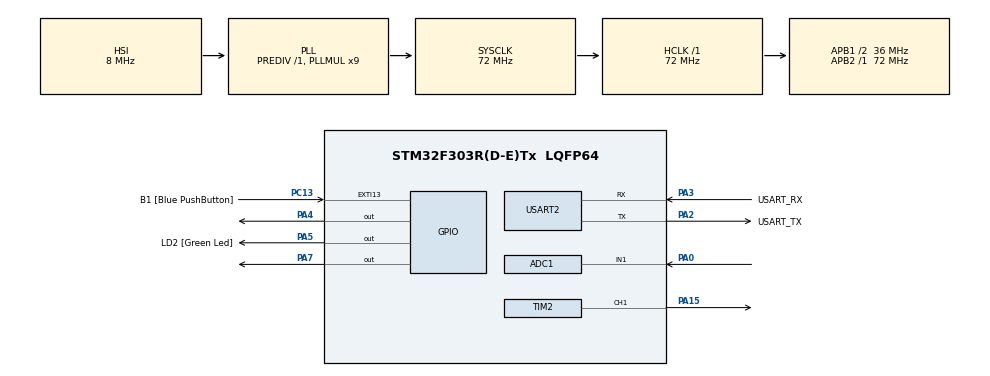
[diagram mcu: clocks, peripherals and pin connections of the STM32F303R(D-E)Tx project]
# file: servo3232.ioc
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ADC1.Channel-0\#ChannelRegularConversion=ADC_CHANNEL_1
ADC1.NbrOfConversionFlag=1
ADC1.Offset-0\#ChannelRegularConversion=0
ADC1.OffsetNumber-0\#ChannelRegularConversion=ADC_OFFSET_NONE
ADC1.Rank-0\#ChannelRegularConversion=1
ADC1.SamplingTime-0\#ChannelRegularConversion=ADC_SAMPLETIME_1CYCLE_5
ADC1.master=1
FREERTOS.Queues01=myQueue01,64,uint16_t,0,Dynamic,NULL,NULL
FREERTOS.Tasks01=defaultTask,0,128,StartDefaultTask,Default,NULL,Dynamic,NULL,NULL;myTask02,0,256,StartTask02,Default,NULL,Dynamic,NULL,NULL;myTask03,0,256,StartTask03,Default,NULL,Dynamic,NULL,NULL
FREERTOS.configTOTAL_HEAP_SIZE=4096
Mcu.Family=STM32F3
Mcu.Name=STM32F303R(D-E)Tx
Mcu.Package=LQFP64
NVIC.PriorityGroup=NVIC_PRIORITYGROUP_4
NVIC.TIM1_UP_TIM16_IRQn=true\:0\:0\:false\:false\:true\:false\:false
NVIC.TimeBase=TIM1_UP_TIM16_IRQn
NVIC.TimeBaseIP=TIM1
PA0.Mode=IN1-Single-Ended
PA0.Signal=ADC1_IN1
PA13.GPIO_Label=TMS
PA13.Mode=Serial_Wire
PA13.Signal=SYS_JTMS-SWDIO
PA14.GPIO_Label=TCK
PA14.Mode=Serial_Wire
PA14.Signal=SYS_JTCK-SWCLK
PA15.Signal=S_TIM2_CH1_ETR
PA2.GPIO_Label=USART_TX
PA2.GPIO_Mode=GPIO_MODE_AF_PP
PA2.GPIO_PuPd=GPIO_NOPULL
PA2.GPIO_Speed=GPIO_SPEED_FREQ_LOW
PA2.Mode=Asynchronous
PA2.Signal=USART2_TX
PA3.GPIO_Label=USART_RX
PA3.GPIO_Mode=GPIO_MODE_AF_PP
PA3.GPIO_PuPd=GPIO_NOPULL
PA3.GPIO_Speed=GPIO_SPEED_FREQ_LOW
PA3.Mode=Asynchronous
PA3.Signal=USART2_RX
PA4.Signal=GPIO_Output
PA5.GPIO_Label=LD2 [Green Led]
PA5.GPIO_Mode=GPIO_MODE_OUTPUT_PP
PA5.GPIO_PuPd=GPIO_NOPULL
PA5.GPIO_Speed=GPIO_SPEED_FREQ_LOW
PA5.Signal=GPIO_Output
PA7.Signal=GPIO_Output
PB3.GPIO_Label=SWO
PB3.Signal=SYS_JTDO-TRACESWO
PC13.GPIO_Label=B1 [Blue PushButton]
PC13.GPIO_ModeDefaultEXTI=GPIO_MODE_IT_FALLING
PC13.Signal=GPXTI13
PC14-OSC32_IN.Mode=LSE-External-Oscillator
PC14-OSC32_IN.Signal=RCC_OSC32_IN
PC15-OSC32_OUT.Mode=LSE-External-Oscillator
PC15-OSC32_OUT.Signal=RCC_OSC32_OUT
PF0-OSC_IN.Mode=HSE-External-Oscillator
PF0-OSC_IN.Signal=RCC_OSC_IN
PF1-OSC_OUT.Mode=HSE-External-Oscillator
PF1-OSC_OUT.Signal=RCC_OSC_OUT
ProjectManager.HeapSize=0x200
ProjectManager.StackSize=0x400
ProjectManager.TargetToolchain=SW4STM32
RCC.AHBFreq_Value=72000000
RCC.APB1CLKDivider=RCC_HCLK_DIV2
RCC.APB1Freq_Value=36000000
RCC.APB1TimFreq_Value=72000000
RCC.APB2Freq_Value=72000000
RCC.APB2TimFreq_Value=72000000
RCC.CortexFreq_Value=72000000
RCC.HCLKFreq_Value=72000000
RCC.HSE_VALUE=8000000
RCC.HSI_VALUE=8000000
RCC.PLLM=8
RCC.PLLMUL=RCC_PLL_MUL9
RCC.PLLN=336
RCC.PLLP=RCC_PLLP_DIV4
RCC.PLLQ=7
RCC.RCC_PLLsource_Clock_Source_FROM_HSE=RCC_HSE_PREDIV_DIV2
RCC.SYSCLKFreq_VALUE=72000000
RCC.SYSCLKSourceVirtual=RCC_SYSCLKSOURCE_PLLCLK
RCC.USBFreq_Value=72000000
SH.S_TIM2_CH1_ETR.0=TIM2_CH1,Output Compare1 CH1
TIM2.Channel-Output\ Compare1\ CH1=TIM_CHANNEL_1
USART2.VirtualMode-Asynchronous=VM_ASYNC
VP_FREERTOS_VS_ENABLE.Mode=Enabled
VP_SYS_VS_tim1.Mode=TIM1
VP_TIM2_VS_ClockSourceINT.Mode=Internal
board=NUCLEO-F303RE

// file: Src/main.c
/**
  ******************************************************************************
  * @file           : main.c
  * @brief          : Main program body
  ******************************************************************************
  * This notice applies to any and all portions of this file
  * that are not between comment pairs USER CODE BEGIN and
  * USER CODE END. Other portions of this file, whether
  * inserted by the user or by software development tools
  * are owned by their respective copyright owners.
  *
  * Copyright (c) 2018 STMicroelectronics International N.V.
  * All rights reserved.
  *
  * Redistribution and use in source and binary forms, with or without
  * modification, are permitted, provided that the following conditions are met:
  *
  * 1. Redistribution of source code must retain the above copyright notice,
  *    this list of conditions and the following disclaimer.
  * 2. Redistributions in binary form must reproduce the above copyright notice,
  *    this list of conditions and the following disclaimer in the documentation
  *    and/or other materials provided with the distribution.
  * 3. Neither the name of STMicroelectronics nor the names of other
  *    contributors to this software may be used to endorse or promote products
  *    derived from this software without specific written permission.
  * 4. This software, including modifications and/or derivative works of this
  *    software, must execute solely and exclusively on microcontroller or
  *    microprocessor devices manufactured by or for STMicroelectronics.
  * 5. Redistribution and use of this software other than as permitted under
  *    this license is void and will automatically terminate your rights under
  *    this license.
  *
  * THIS SOFTWARE IS PROVIDED BY STMICROELECTRONICS AND CONTRIBUTORS "AS IS"
  * AND ANY EXPRESS, IMPLIED OR STATUTORY WARRANTIES, INCLUDING, BUT NOT
  * LIMITED TO, THE IMPLIED WARRANTIES OF MERCHANTABILITY, FITNESS FOR A
  * PARTICULAR PURPOSE AND NON-INFRINGEMENT OF THIRD PARTY INTELLECTUAL PROPERTY
  * RIGHTS ARE DISCLAIMED TO THE FULLEST EXTENT PERMITTED BY LAW. IN NO EVENT
  * SHALL STMICROELECTRONICS OR CONTRIBUTORS BE LIABLE FOR ANY DIRECT, INDIRECT,
  * INCIDENTAL, SPECIAL, EXEMPLARY, OR CONSEQUENTIAL DAMAGES (INCLUDING, BUT NOT
  * LIMITED TO, PROCUREMENT OF SUBSTITUTE GOODS OR SERVICES; LOSS OF USE, DATA,
  * OR PROFITS; OR BUSINESS INTERRUPTION) HOWEVER CAUSED AND ON ANY THEORY OF
  * LIABILITY, WHETHER IN CONTRACT, STRICT LIABILITY, OR TORT (INCLUDING
  * NEGLIGENCE OR OTHERWISE) ARISING IN ANY WAY OUT OF THE USE OF THIS SOFTWARE,
  * EVEN IF ADVISED OF THE POSSIBILITY OF SUCH DAMAGE.
  *
  ******************************************************************************
  */
#include "main.h"
#include "stm32f3xx_hal.h"
#include "cmsis_os.h"
#include "adc.h"
#include "tim.h"
#include "usart.h"
#include "gpio.h"

/* USER CODE BEGIN Includes */
/***************************************AUTORZY*********************************************/
//PATRYK ZYGMUNT
//DANIEL STEFANIK

/*******************************************************************************************/

/* USER CODE END Includes */

/* USER CODE BEGIN PV */
/* Private variables ---------------------------------------------------------*/

/* USER CODE END PV */

void SystemClock_Config(void);
void MX_FREERTOS_Init(void);

/* USER CODE BEGIN PFP */
/* Private function prototypes -----------------------------------------------*/

/* USER CODE END PFP */

int main(void)
{

  /* MCU Configuration----------------------------------------------------------*/

  /* Reset of all peripherals, Initializes the Flash interface and the Systick. */
  HAL_Init();

  /* Configure the system clock */
  SystemClock_Config();

  /* Initialize all configured peripherals */
  MX_GPIO_Init();
  MX_USART2_UART_Init();
  MX_ADC1_Init();
  MX_TIM2_Init();

  /* Call init function for freertos objects (in freertos.c) */
  MX_FREERTOS_Init();

  /* Start scheduler */
  osKernelStart();

  /* We should never get here as control is now taken by the scheduler */

  /* Infinite loop */
  while (1)
  {

  }

}

void SystemClock_Config(void)
{

  RCC_OscInitTypeDef RCC_OscInitStruct;
  RCC_ClkInitTypeDef RCC_ClkInitStruct;
  RCC_PeriphCLKInitTypeDef PeriphClkInit;

    /**Initializes the CPU, AHB and APB busses clocks
    */
  RCC_OscInitStruct.OscillatorType = RCC_OSCILLATORTYPE_HSI;
  RCC_OscInitStruct.HSIState = RCC_HSI_ON;
  RCC_OscInitStruct.HSICalibrationValue = 16;
  RCC_OscInitStruct.PLL.PLLState = RCC_PLL_ON;
  RCC_OscInitStruct.PLL.PLLSource = RCC_PLLSOURCE_HSI;
  RCC_OscInitStruct.PLL.PLLMUL = RCC_PLL_MUL9;
  RCC_OscInitStruct.PLL.PREDIV = RCC_PREDIV_DIV1;
  if (HAL_RCC_OscConfig(&RCC_OscInitStruct) != HAL_OK)
  {
    _Error_Handler(__FILE__, __LINE__);
  }

    /**Initializes the CPU, AHB and APB busses clocks
    */
  RCC_ClkInitStruct.ClockType = RCC_CLOCKTYPE_HCLK|RCC_CLOCKTYPE_SYSCLK
                              |RCC_CLOCKTYPE_PCLK1|RCC_CLOCKTYPE_PCLK2;
  RCC_ClkInitStruct.SYSCLKSource = RCC_SYSCLKSOURCE_PLLCLK;
  RCC_ClkInitStruct.AHBCLKDivider = RCC_SYSCLK_DIV1;
  RCC_ClkInitStruct.APB1CLKDivider = RCC_HCLK_DIV2;
  RCC_ClkInitStruct.APB2CLKDivider = RCC_HCLK_DIV1;

  if (HAL_RCC_ClockConfig(&RCC_ClkInitStruct, FLASH_LATENCY_2) != HAL_OK)
  {
    _Error_Handler(__FILE__, __LINE__);
  }

  PeriphClkInit.PeriphClockSelection = RCC_PERIPHCLK_USART2|RCC_PERIPHCLK_ADC12
                              |RCC_PERIPHCLK_TIM2;
  PeriphClkInit.Usart2ClockSelection = RCC_USART2CLKSOURCE_PCLK1;
  PeriphClkInit.Adc12ClockSelection = RCC_ADC12PLLCLK_DIV1;
  PeriphClkInit.Tim2ClockSelection = RCC_TIM2CLK_HCLK;
  if (HAL_RCCEx_PeriphCLKConfig(&PeriphClkInit) != HAL_OK)
  {
    _Error_Handler(__FILE__, __LINE__);
  }

    /**Configure the Systick interrupt time
    */
  HAL_SYSTICK_Config(HAL_RCC_GetHCLKFreq()/1000);

    /**Configure the Systick
    */
  HAL_SYSTICK_CLKSourceConfig(SYSTICK_CLKSOURCE_HCLK);

  /* SysTick_IRQn interrupt configuration */
  HAL_NVIC_SetPriority(SysTick_IRQn, 15, 0);
}

void HAL_TIM_PeriodElapsedCallback(TIM_HandleTypeDef *htim)
{
  if (htim->Instance == TIM1) {
    HAL_IncTick();
  }
  /* USER CODE BEGIN Callback 1 */
  if (htim->Instance == TIM2) {
	  HAL_UART_Transmit(&huart2,(uint8_t*)"WOOOW!\n",4,100);
   }

  /* USER CODE END Callback 1 */
}

void _Error_Handler(char *file, int line)
{
  while(1)
  {
  }
}

/************************ (C) COPYRIGHT STMicroelectronics *****END OF FILE****/

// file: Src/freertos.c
/**
 ******************************************************************************
 * File Name          : freertos.c
 * Description        : Code for freertos applications
 ******************************************************************************
 * This notice applies to any and all portions of this file
 * that are not between comment pairs USER CODE BEGIN and
 * USER CODE END. Other portions of this file, whether
 * inserted by the user or by software development tools
 * are owned by their respective copyright owners.
 *
 * Copyright (c) 2018 STMicroelectronics International N.V.
 * All rights reserved.
 *
 * Redistribution and use in source and binary forms, with or without
 * modification, are permitted, provided that the following conditions are met:
 *
 * 1. Redistribution of source code must retain the above copyright notice,
 *    this list of conditions and the following disclaimer.
 * 2. Redistributions in binary form must reproduce the above copyright notice,
 *    this list of conditions and the following disclaimer in the documentation
 *    and/or other materials provided with the distribution.
 * 3. Neither the name of STMicroelectronics nor the names of other
 *    contributors to this software may be used to endorse or promote products
 *    derived from this software without specific written permission.
 * 4. This software, including modifications and/or derivative works of this
 *    software, must execute solely and exclusively on microcontroller or
 *    microprocessor devices manufactured by or for STMicroelectronics.
 * 5. Redistribution and use of this software other than as permitted under
 *    this license is void and will automatically terminate your rights under
 *    this license.
 *
 * THIS SOFTWARE IS PROVIDED BY STMICROELECTRONICS AND CONTRIBUTORS "AS IS"
 * AND ANY EXPRESS, IMPLIED OR STATUTORY WARRANTIES, INCLUDING, BUT NOT
 * LIMITED TO, THE IMPLIED WARRANTIES OF MERCHANTABILITY, FITNESS FOR A
 * PARTICULAR PURPOSE AND NON-INFRINGEMENT OF THIRD PARTY INTELLECTUAL PROPERTY
 * RIGHTS ARE DISCLAIMED TO THE FULLEST EXTENT PERMITTED BY LAW. IN NO EVENT
 * SHALL STMICROELECTRONICS OR CONTRIBUTORS BE LIABLE FOR ANY DIRECT, INDIRECT,
 * INCIDENTAL, SPECIAL, EXEMPLARY, OR CONSEQUENTIAL DAMAGES (INCLUDING, BUT NOT
 * LIMITED TO, PROCUREMENT OF SUBSTITUTE GOODS OR SERVICES; LOSS OF USE, DATA,
 * OR PROFITS; OR BUSINESS INTERRUPTION) HOWEVER CAUSED AND ON ANY THEORY OF
 * LIABILITY, WHETHER IN CONTRACT, STRICT LIABILITY, OR TORT (INCLUDING
 * NEGLIGENCE OR OTHERWISE) ARISING IN ANY WAY OUT OF THE USE OF THIS SOFTWARE,
 * EVEN IF ADVISED OF THE POSSIBILITY OF SUCH DAMAGE.
 *
 ******************************************************************************
 */

#include "FreeRTOS.h"
#include "task.h"
#include "cmsis_os.h"
#include "main.h"
#include "stm32f3xx_hal.h"
#include "cmsis_os.h"
#include "adc.h"
#include "usart.h"
#include "tim.h"
#include "gpio.h"

osThreadId defaultTaskHandle;
osThreadId myTask02Handle;
osThreadId myTask03Handle;
osMessageQId myQueue01Handle;

void StartDefaultTask(void const * argument);
void StartTask02(void const * argument);
void StartTask03(void const * argument);

void MX_FREERTOS_Init(void); /* (MISRA C 2004 rule 8.1) */

/* Hook prototypes */

/* Init FreeRTOS */

void MX_FREERTOS_Init(void) {
	/* USER CODE BEGIN Init */
	HAL_TIM_Base_Start(&htim2);
	/* USER CODE END Init */

	/* Create the thread(s) */
	/* definition and creation of defaultTask */
	osThreadDef(defaultTask, StartDefaultTask, osPriorityIdle, 0, 128);
	defaultTaskHandle = osThreadCreate(osThread(defaultTask), NULL);
	/* definition and creation of myTask02 */
	osThreadDef(myTask02, StartTask02, osPriorityIdle, 0, 256);
	myTask02Handle = osThreadCreate(osThread(myTask02), NULL);

	/* definition and creation of myTask03 */
	osThreadDef(myTask03, StartTask03, osPriorityRealtime, 0, 256);
	myTask03Handle = osThreadCreate(osThread(myTask03), NULL);

	/* Create the queue(s) */
	/* definition and creation of myQueue01 */
	/* what about the sizeof here??? cd native code */
	osMessageQDef(myQueue01, 64, uint16_t);
	myQueue01Handle = osMessageCreate(osMessageQ(myQueue01), NULL);

}

/* StartDefaultTask function */
void StartDefaultTask(void const * argument) {

	/* USER CODE BEGIN StartDefaultTask */
	/* Infinite loop */
	uint32_t ostatni = 0;
	uint16_t licz = 0;
	uint32_t l = 0;
	for (;;) {
		licz++;

		HAL_ADC_Start(&hadc1);
		if (HAL_ADC_PollForConversion(&hadc1, 1000000) == HAL_OK) {
			l = HAL_ADC_GetValue(&hadc1);

		}
		HAL_ADC_Stop(&hadc1);
		if (licz != ostatni) {
			osMessagePut(myQueue01Handle, l, 500);
		}
		osDelay(20);
		ostatni = licz;
	}
	/* USER CODE END StartDefaultTask */
}

/* StartTask02 function */
void StartTask02(void const * argument) {
	/* USER CODE BEGIN StartTask02 */
	/* Infinite loop */
	GPIO_InitTypeDef gpio; // obiekt gpio bêd¹cy konfiguracj¹ portów GPIO
	gpio.Pin = GPIO_PIN_5; // konfigurujemy pin 5
	gpio.Mode = GPIO_MODE_OUTPUT_PP; // jako wyjœcie
	gpio.Pull = GPIO_NOPULL; // rezystory podci¹gaj¹ce s¹ wy³¹czone
	gpio.Speed = GPIO_SPEED_FREQ_LOW; // wystarcz¹ nieskie czêstotliwoœci prze³¹czania
	HAL_GPIO_Init(GPIOA, &gpio); // inicjalizacja modu³u GPIOA
	for (;;) {
		HAL_GPIO_WritePin(GPIOA, GPIO_PIN_5, GPIO_PIN_SET); // zapalenie diody
		HAL_Delay(100);
		HAL_GPIO_WritePin(GPIOA, GPIO_PIN_5, GPIO_PIN_RESET); // zgaszenie diody
		HAL_Delay(100);
	}
	/* USER CODE END StartTask02 */
}

/* StartTask03 function */
void StartTask03(void const * argument) {
	/* USER CODE BEGIN StartTask03 */
	/* Infinite loop */

	//char str[30] = { 0 };
	osEvent event;
	uint32_t timer_val = 0;
	uint32_t min = 65;
	uint32_t max = 240;
	int it = 0;
	uint8_t volt = 0;
	uint32_t MAX_VAL = 4000;
	event = osMessageGet(myQueue01Handle, 1000);
	int val = min;
	int prevVal = max;
	int div = (MAX_VAL / (max - min));

	for (;;) {
		timer_val = __HAL_TIM_GET_COUNTER(&htim2);

		if (it==2) {
			event = osMessageGet(myQueue01Handle, 1000);
			if (event.status != osEventTimeout) {
				val = (event.value.v / div)+min;
//				snprintf(str, 26, "Licz=%8lu\n   ", val);
//				HAL_UART_Transmit(&huart2, (uint8_t*) str, 14, 100);
			}
			it=0;
		}

		if (volt == 0 && timer_val == 0) {
			it++;
			volt = 1;
			if(val != prevVal){
				HAL_GPIO_WritePin(GPIOA, GPIO_PIN_4, GPIO_PIN_SET);
				HAL_GPIO_WritePin(GPIOA, GPIO_PIN_7, GPIO_PIN_SET);
				prevVal = val;

			}
		}
		if (volt == 1 && timer_val == val) {
			volt = 0;
			HAL_GPIO_WritePin(GPIOA, GPIO_PIN_4, GPIO_PIN_RESET);
			HAL_GPIO_WritePin(GPIOA, GPIO_PIN_7, GPIO_PIN_RESET);
		}

		/* USER CODE END StartTask03 */
	}
}

/************************ (C) COPYRIGHT STMicroelectronics *****END OF FILE****/
